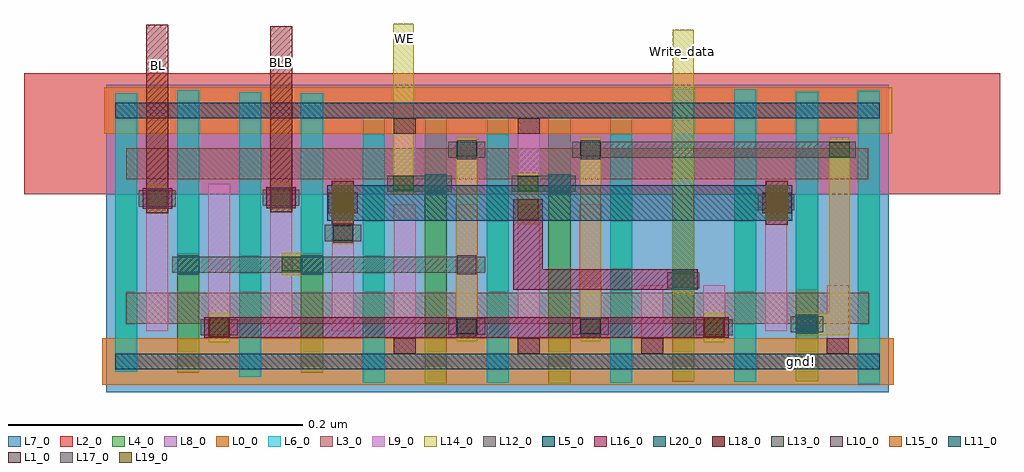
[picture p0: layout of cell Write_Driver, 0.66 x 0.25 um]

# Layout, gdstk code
from math import pi, radians
import gdstk
lib = gdstk.Library(unit=1e-6, precision=5e-10)
def R(c, l, rs):  # rectangles x0, y0, x1, y1
    for r in rs: c.add(gdstk.rectangle(r[:2], r[2:], *l))
def A(c, l, x, y, w, h, nx, ny, dx, dy):  # array of equal rectangles
    R(c, l, [(x+i*dx, y+j*dy, x+i*dx+w, y+j*dy+h) for i in range(nx) for j in range(ny)])
L0_0 = (0, 0)
L1_0 = (1, 0)
L2_0 = (2, 0)
L3_0 = (3, 0)
L4_0 = (4, 0)
L5_0 = (5, 0)
L6_0 = (6, 0)
L7_0 = (7, 0)
L8_0 = (8, 0)
L9_0 = (9, 0)
L10_0 = (10, 0)
L11_0 = (11, 0)
L12_0 = (12, 0)
L13_0 = (13, 0)
L14_0 = (14, 0)
L15_0 = (15, 0)
L16_0 = (16, 0)
L17_0 = (17, 0)
L18_0 = (18, 0)
L19_0 = (19, 0)
L20_0 = (20, 0)

nmos = lib.new_cell('nmos')
R(nmos, L3_0, [(-0.042,-0.0105,0.042,0.0105)])
A(nmos, L4_0, -0.0495, -0.032, 0.015, 0.064, 3, 1, 0.042, 0)
R(nmos, L7_0, [(-0.0555,-0.021,0.0555,0.0205)])
R(nmos, L9_0, [(-0.0285,-0.0155,-0.0135,0.0155), (0.0135,-0.0155,0.0285,0.0155)])

gate_m0b = lib.new_cell('GATE_M0B')
R(gate_m0b, L4_0, [(-0.0075,-0.0115,0.0075,0.0115)])
R(gate_m0b, L11_0, [(-0.0075,-0.0065,0.0075,0.0065)])
R(gate_m0b, L12_0, [(-0.011,-0.0055,0.011,0.0055)])

m0b_m1 = lib.new_cell('M0B_M1')
R(m0b_m1, L12_0, [(-0.011,-0.005,0.011,0.005)])
R(m0b_m1, L13_0, [(-0.007,-0.005,0.007,0.005)])
R(m0b_m1, L14_0, [(-0.007,-0.0075,0.007,0.0075)])

bpr_m0a = lib.new_cell('BPR_M0A')
R(bpr_m0a, L0_0, [(-0.021,-0.0055,0.021,0.026)])
R(bpr_m0a, L1_0, [(-0.0075,-0.0055,0.0075,0.005)])
R(bpr_m0a, L9_0, [(-0.0075,-0.0165,0.0075,0.005)])

m0a_m0b = lib.new_cell('M0A_M0B')
R(m0a_m0b, L9_0, [(-0.0075,-0.0055,0.0075,0.0055)])
R(m0a_m0b, L10_0, [(-0.0065,-0.0065,0.0065,0.0065)])
R(m0a_m0b, L12_0, [(-0.0125,-0.0055,0.0125,0.0055)])

m1_m2 = lib.new_cell('M1_M2')
R(m1_m2, L14_0, [(-0.007,-0.01,0.007,0.01)])
R(m1_m2, L15_0, [(-0.007,-0.007,0.007,0.007)])
R(m1_m2, L16_0, [(-0.01,-0.007,0.01,0.007)])

m2_m3 = lib.new_cell('M2_M3')
R(m2_m3, L16_0, [(-0.01,-0.007,0.01,0.007)])
R(m2_m3, L17_0, [(-0.007,-0.007,0.007,0.007)])
R(m2_m3, L18_0, [(-0.0075,-0.01,0.0075,0.01)])

m3_m4 = lib.new_cell('M3_M4')
R(m3_m4, L18_0, [(-0.0075,-0.015,0.0075,0.015)])
R(m3_m4, L19_0, [(-0.0075,-0.012,0.0075,0.012)])
R(m3_m4, L20_0, [(-0.0105,-0.012,0.0105,0.012)])

inverter_write_driver = lib.new_cell('inverter_write_driver')
R(inverter_write_driver, L0_0, [(-0.042,-0.071,0.057,-0.0395), (-0.0255,-0.0695,-0.001,-0.0625), (-0.042,0.0995,0.057,0.131), (-0.027,0.122,-0.005,0.1295)])
R(inverter_write_driver, L1_0, [(-0.021,-0.05,-0.006,-0.0395), (-0.021,0.0995,-0.006,0.11)])
R(inverter_write_driver, L2_0, [(-0.066,0.0585,0.082,0.136)])
R(inverter_write_driver, L3_0, [(-0.0345,-0.0295,0.0515,-0.0085), (-0.0345,0.0685,0.0495,0.0895)])
R(inverter_write_driver, L4_0, [(0,-0.07,0.015,0.1155), (-0.042,-0.0695,-0.027,-0.0005), (0.042,-0.0695,0.057,0.1155), (-0.042,-0.0005,-0.027,0.1155)])
R(inverter_write_driver, L5_0, [(-0.042,-0.0605,0.057,-0.05), (-0.042,0.11,0.057,0.1205)])
R(inverter_write_driver, L6_0, [(-0.042,-0.0695,-0.027,0.099), (0.042,-0.0695,0.057,0.099)])
R(inverter_write_driver, L7_0, [(-0.048,-0.076,0.065,-0.0165), (-0.048,-0.0165,0.065,0.0585)])
R(inverter_write_driver, L8_0, [(-0.048,0.0585,0.065,0.1325)])
R(inverter_write_driver, L9_0, [(-0.021,-0.05,-0.006,0.0515), (0.021,-0.0365,0.036,0.0175), (0.021,0.0175,0.036,0.0515), (-0.021,0.063,-0.006,0.11), (0.021,0.0635,0.036,0.094)])
R(inverter_write_driver, L10_0, [(0.022,0.082,0.035,0.095)])
R(inverter_write_driver, L11_0, [(0,0.059,0.015,0.072)])
R(inverter_write_driver, L12_0, [(-0.0035,0.06,0.0185,0.071), (-0.0035,0.06,0.0185,0.071), (0.0005,0.0605,0.0145,0.0705), (0.016,0.083,0.041,0.094), (0.017,0.083,0.04,0.094)])
R(inverter_write_driver, L13_0, [(0.0215,-0.0365,0.0355,-0.0265), (0.0215,0.084,0.0355,0.094)])
R(inverter_write_driver, L14_0, [(0.0215,-0.0415,0.0355,0.0135), (0.0215,0.0135,0.0355,0.097), (0.022,0.052,0.035,0.064)])
inverter_write_driver.add(gdstk.Reference(m0a_m0b, (0.0285,-0.0315)))
inverter_write_driver.add(gdstk.Label('gnd!', (-0.013,-0.066), layer=0, texttype=0))
inverter_write_driver.add(gdstk.Label('vdd!', (-0.016,0.1255), layer=0, texttype=0))
inverter_write_driver.add(gdstk.Label('A', (0.0075,0.0655), layer=12, texttype=0))
inverter_write_driver.add(gdstk.Label('Out', (0.0285,0.058), layer=14, texttype=0))

write_driver = lib.new_cell('Write_Driver')
R(write_driver, L0_0, [(-0.0915,0.011,0.0855,0.0425), (0.2685,0.011,0.446,0.0425), (0.362,0.013,0.4055,0.0415), (-0.09,0.1815,0.0855,0.213), (0.2685,0.1815,0.445,0.213)])
R(write_driver, L2_0, [(-0.1445,0.1405,0.0615,0.218), (0.2935,0.1405,0.518,0.218), (-0.1445,0.218,0.518,0.2225)])
R(write_driver, L3_0, [(-0.075,0.1505,0.093,0.1715), (0.261,0.1505,0.4285,0.1715)])
R(write_driver, L4_0, [(0.4215,0.0115,0.4365,0.031), (0.2955,0.013,0.3105,0.031), (0.2955,0.013,0.3105,0.199), (0.3375,0.013,0.3525,0.031), (0.3795,0.0135,0.3945,0.031), (0.0015,0.0165,0.0165,0.031), (0.0855,0.0175,0.1005,0.0265), (0.1275,0.0185,0.1425,0.0265), (-0.0405,0.019,-0.0255,0.031), (0.0435,0.019,0.0585,0.031), (-0.0825,0.02,-0.0675,0.031), (-0.0825,0.095,-0.0675,0.15), (-0.0405,0.095,-0.0255,0.211), (0.0015,0.095,0.0165,0.15), (0.0435,0.095,0.0585,0.209), (0.3375,0.095,0.3525,0.15), (0.3795,0.095,0.3945,0.21), (0.4215,0.095,0.4365,0.15), (-0.0825,0.15,-0.0675,0.209), (0.0015,0.15,0.0165,0.2095), (0.3375,0.15,0.3525,0.2115), (0.4215,0.15,0.4365,0.2105), (0.2955,0.199,0.3105,0.212)])
R(write_driver, L5_0, [(-0.0825,0.0215,-0.082,0.032), (-0.082,0.0215,0.0855,0.032), (0.2685,0.0215,0.3945,0.032), (0.3945,0.0215,0.4365,0.032), (-0.0825,0.192,0.0855,0.2025), (0.2685,0.192,0.4365,0.2025)])
R(write_driver, L6_0, [(0.4215,0.0115,0.4365,0.2105), (0.3375,0.013,0.3525,0.2115), (0.0015,0.0165,0.0165,0.2095), (-0.0825,0.02,-0.0675,0.209), (0.3795,0.0755,0.3945,0.21), (0.2955,0.0895,0.3105,0.212), (-0.0405,0.1,-0.0255,0.211), (0.0435,0.1,0.0585,0.209)])
R(write_driver, L7_0, [(-0.0885,0.006,0.0795,0.042), (0.2765,0.006,0.4425,0.042), (-0.0885,0.0655,0.0795,0.1225), (0.2765,0.0655,0.4425,0.1385), (-0.0885,0.1225,0.0795,0.1405), (0.2765,0.1385,0.4425,0.1405)])
R(write_driver, L8_0, [(-0.0885,0.1405,0.0795,0.2145), (0.2765,0.1405,0.4425,0.2145)])
R(write_driver, L9_0, [(-0.0195,0.043,-0.0045,0.0475), (0.2745,0.043,0.2895,0.0475), (-0.0615,0.0785,-0.0465,0.149), (-0.0195,0.0785,-0.0045,0.1475), (0.0225,0.0785,0.0375,0.149), (0.0645,0.0785,0.0795,0.148), (0.3585,0.0785,0.3735,0.1495)])
R(write_driver, L12_0, [(-0.022,0.087,0.04,0.098), (0.0585,0.087,0.165,0.098), (0.102,0.142,0.124,0.143), (0.1865,0.142,0.208,0.153), (0.2515,0.165,0.379,0.176), (0.379,0.165,0.398,0.176), (0.398,0.165,0.42,0.176)])
R(write_driver, L14_0, [(0.394,0.0445,0.416,0.0595), (0.402,0.0595,0.416,0.163), (0.296,0.0925,0.31,0.252), (0.065,0.1175,0.079,0.1265), (0.106,0.1555,0.12,0.256), (0.2985,0.2335,0.307,0.241), (0.109,0.242,0.118,0.2505)])
R(write_driver, L16_0, [(-0.002,0.043,0.314,0.057), (0.1875,0.0755,0.2075,0.123), (0.2075,0.0755,0.2935,0.0895)])
R(write_driver, L18_0, [(-0.0615,0.137,-0.0465,0.2555), (0.0225,0.1455,0.0375,0.2545), (-0.0585,0.222,-0.048,0.234), (0.024,0.223,0.036,0.236)])
R(write_driver, L20_0, [(0.0825,0.1225,0.356,0.1465)])
write_driver.add(gdstk.Reference(nmos, (0.051,0.063)))
write_driver.add(gdstk.Reference(nmos, (0.303,0.063)))
write_driver.add(gdstk.Reference(nmos, (0.387,0.063)))
write_driver.add(gdstk.Reference(nmos, (-0.033,0.063)))
write_driver.add(gdstk.Reference(gate_m0b, (0.387,0.052)))
write_driver.add(gdstk.Reference(gate_m0b, (0.303,0.082)))
write_driver.add(gdstk.Reference(gate_m0b, (0.051,0.0925)))
write_driver.add(gdstk.Reference(gate_m0b, (-0.033,0.0925)))
write_driver.add(gdstk.Reference(m0b_m1, (0.1975,0.1475)))
write_driver.add(gdstk.Reference(m0b_m1, (0.113,0.148)))
write_driver.add(gdstk.Reference(m0b_m1, (0.303,0.082)))
write_driver.add(gdstk.Reference(m0b_m1, (-0.054,0.1375)))
write_driver.add(gdstk.Reference(m0b_m1, (0.03,0.138)))
write_driver.add(gdstk.Reference(m0b_m1, (-0.012,0.05)))
write_driver.add(gdstk.Reference(m0b_m1, (0.324,0.05)))
write_driver.add(gdstk.Reference(m0b_m1, (0.072,0.114)))
write_driver.add(gdstk.Reference(m0b_m1, (0.3665,0.1345)))
write_driver.add(gdstk.Reference(m0b_m1, (0.387,0.052)))
write_driver.add(gdstk.Reference(m0b_m1, (0.409,0.1705)))
write_driver.add(gdstk.Reference(m0b_m1, (0.0375,0.093)))
write_driver.add(gdstk.Reference(bpr_m0a, (0.282,0.037), rotation=pi))
write_driver.add(gdstk.Reference(bpr_m0a, (0.408,0.037), rotation=pi))
write_driver.add(gdstk.Reference(m0a_m0b, (0.156,0.0925)))
write_driver.add(gdstk.Reference(m0a_m0b, (-0.054,0.1375)))
write_driver.add(gdstk.Reference(m0a_m0b, (0.03,0.138)))
write_driver.add(gdstk.Reference(m0a_m0b, (-0.012,0.05)))
write_driver.add(gdstk.Reference(m0a_m0b, (0.324,0.05)))
write_driver.add(gdstk.Reference(m0a_m0b, (0.072,0.114)))
write_driver.add(gdstk.Reference(m0a_m0b, (0.366,0.135)))
write_driver.add(gdstk.Reference(m1_m2, (0.1975,0.13)))
write_driver.add(gdstk.Reference(m1_m2, (0.303,0.0825)))
write_driver.add(gdstk.Reference(m1_m2, (-0.054,0.1375)))
write_driver.add(gdstk.Reference(m1_m2, (0.03,0.138)))
write_driver.add(gdstk.Reference(m1_m2, (-0.012,0.05)))
write_driver.add(gdstk.Reference(m1_m2, (0.324,0.05)))
write_driver.add(gdstk.Reference(m1_m2, (0.072,0.1345)))
write_driver.add(gdstk.Reference(m1_m2, (0.3665,0.1345)))
write_driver.add(gdstk.Reference(m2_m3, (0.3665,0.1345)))
write_driver.add(gdstk.Reference(m2_m3, (0.072,0.1345)))
write_driver.add(gdstk.Reference(m2_m3, (-0.054,0.1375)))
write_driver.add(gdstk.Reference(m2_m3, (0.03,0.138)))
write_driver.add(gdstk.Reference(m3_m4, (0.3665,0.1345)))
write_driver.add(gdstk.Reference(m3_m4, (0.072,0.1345)))
write_driver.add(gdstk.Reference(inverter_write_driver, (0.2115,0.082)))
write_driver.add(gdstk.Reference(inverter_write_driver, (0.1275,0.082)))
write_driver.add(gdstk.Label('gnd!', (0.3835,0.027), layer=0, texttype=0))
write_driver.add(gdstk.Label('WE', (0.1135,0.246), layer=14, texttype=0))
write_driver.add(gdstk.Label('Write_data', (0.3025,0.237), layer=14, texttype=0))
write_driver.add(gdstk.Label('BL', (-0.053,0.228), layer=18, texttype=0))
write_driver.add(gdstk.Label('BLB', (0.03,0.2295), layer=18, texttype=0))

lib.write_gds('Write_Driver.gds')
